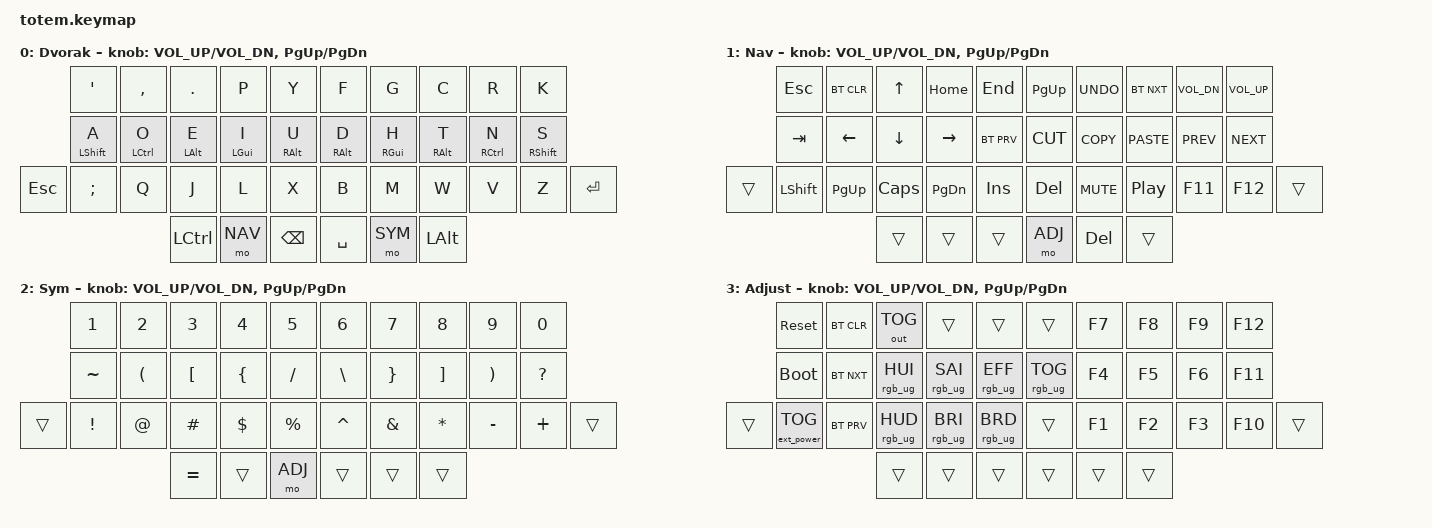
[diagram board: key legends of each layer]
/*
 * Copyright (c) 2025
 *
 * SPDX-License-Identifier: MIT
 */

#include <behaviors.dtsi>
#include <dt-bindings/zmk/keys.h>
#include <dt-bindings/zmk/bt.h>
#include <dt-bindings/zmk/outputs.h>
#include <dt-bindings/zmk/rgb.h>
#include <dt-bindings/zmk/ext_power.h>

#define BASE 0
#define NAV  1
#define SYM  2
#define ADJ  3

&mt {
  quick-tap-ms = <100>;
  global-quick-tap;
  flavor = "tap-preferred";
  tapping-term-ms = <250>;
};

/ {
    // Combos
    combos {
        compatible = "zmk,combos";
        combo_esc {
            timeout-ms = <50>;
            key-positions = <1 2>;
            bindings = <&kp ESC>;
        };
        combo_enter {
            timeout-ms = <50>;
            key-positions = <25 26>; // Positions for BSPC and SPACE
            bindings = <&kp ENTER>;
        };    
    };

    // Activate ADJ layer by pressing NAV and SYM
    conditional_layers {
        compatible = "zmk,conditional-layers";
        adjust_layer {
            if-layers = <NAV SYM>;
            then-layer = <ADJ>;
        };
    };

    // Macros
    macros {
        gif: gif {
            label = "giphy";
            compatible = "zmk,behavior-macro";
            #binding-cells = <0>;
            bindings
                = <&macro_press &kp LSHFT>
                , <&macro_tap &kp N2>
                , <&macro_release &kp LSHFT>
                , <&macro_tap &kp G &kp I &kp F>
                ;
        };
    };

    keymap {
        compatible = "zmk,keymap";

        // Base Dvorak Layer
        default_layer {
            display-name = "Dvorak";
        /*
            ┏━━━━━━━┳━━━━━━━┳━━━━━━━┳━━━━━━━┳━━━━━━━┓             ┏━━━━━━━┳━━━━━━━┳━━━━━━━┳━━━━━━━┳━━━━━━━┓
            ┃  ' "  ┃  , <  ┃  . >  ┃   P   ┃   Y   ┃             ┃   F   ┃   G   ┃   C   ┃   R   ┃   K   ┃
            ┣━━━━━━━╋━━━━━━━╋━━━━━━━╋━━━━━━━╋━━━━━━━┫             ┣━━━━━━━╋━━━━━━━╋━━━━━━━╋━━━━━━━╋━━━━━━━┫
            ┃A/SHIFT┃O/CTRL ┃E/ALT  ┃I/GUI  ┃U/RALT ┃             ┃D/RALT ┃H/GUI  ┃T/ALT  ┃N/CTRL ┃S/SHIFT┃
   ┏━━━━━━━╋━━━━━━━╋━━━━━━━╋━━━━━━━╋━━━━━━━╋━━━━━━━┫             ┣━━━━━━━╋━━━━━━━╋━━━━━━━╋━━━━━━━╋━━━━━━━╋━━━━━━━┓
   ┃  ESC  ┃   ;:  ┃   Q   ┃   J   ┃   L   ┃   X   ┃             ┃   B   ┃   M   ┃   W   ┃   V   ┃   Z   ┃ ENTER ┃
   ┗━━━━━━━┻━━━━━━━┻━━━━━━━┻━━━━━┳━┻━━━━━┳━┻━━━━━┳━┻━━━━━┓ ┏━━━━━┻━┳━━━━━┻━┳━━━━━┻━┳━━━━━┻━━━━━━━┻━━━━━━━┻━━━━━━━┛
                                 ┃  CTRL ┃  NAV  ┃ BSPC  ┃ ┃ SPACE ┃  SYM  ┃  ALT  ┃
                                 ┗━━━━━━━┻━━━━━━━┻━━━━━━━┛ ┗━━━━━━━┻━━━━━━━┻━━━━━━━┛
        */
            bindings = <
//                  ╷         ╷           ╷          ╷          ╷          ╷   ╷          ╷          ╷          ╷           ╷           ╷
                   &kp SQT    &kp COMMA   &kp DOT    &kp P      &kp Y          &kp F      &kp G      &kp C      &kp R       &kp K
                   &mt LSHFT A &mt LCTRL O &mt LALT E &mt LGUI I &mt RALT U    &mt RALT D &mt RGUI H &mt RALT T &mt RCTRL N &mt RSHFT S
    &kp ESC        &kp SEMI   &kp Q       &kp J      &kp L      &kp X          &kp B      &kp M      &kp W      &kp V       &kp Z       &kp ENTER
                                           &kp LCTRL  &mo NAV    &kp BSPC       &kp SPACE  &mo SYM    &kp LALT
            >;

            sensor-bindings = <&inc_dec_kp C_VOL_UP C_VOL_DN &inc_dec_kp PG_UP PG_DN>;
        };

        // Navigation Layer
        nav_layer {
            display-name = "Nav";
        /*
            ┏━━━━━━━┳━━━━━━━┳━━━━━━━┳━━━━━━━┳━━━━━━━┓             ┏━━━━━━━┳━━━━━━━┳━━━━━━━┳━━━━━━━┳━━━━━━━┓
            ┃  ESC  ┃ BTCLR ┃   UP  ┃ HOME  ┃  END  ┃             ┃ PGUP  ┃ UNDO  ┃ BTNXT ┃ VOL-  ┃ VOL+  ┃
            ┣━━━━━━━╋━━━━━━━╋━━━━━━━╋━━━━━━━╋━━━━━━━┫             ┣━━━━━━━╋━━━━━━━╋━━━━━━━╋━━━━━━━╋━━━━━━━┫
            ┃  TAB  ┃ LEFT  ┃ DOWN  ┃ RIGHT ┃ BTPRV ┃             ┃ CUT   ┃ COPY  ┃ PASTE ┃ PREV  ┃ NEXT  ┃
   ┏━━━━━━━╋━━━━━━━╋━━━━━━━╋━━━━━━━╋━━━━━━━╋━━━━━━━┫             ┣━━━━━━━╋━━━━━━━╋━━━━━━━╋━━━━━━━╋━━━━━━━╋━━━━━━━┓
   ┃       ┃ SHIFT ┃ PGUP  ┃ CAPS  ┃ PGDN  ┃  INS  ┃             ┃  DEL  ┃ MUTE  ┃ PLAY  ┃  F11  ┃  F12  ┃       ┃
   ┗━━━━━━━┻━━━━━━━┻━━━━━━━┻━━━━━┳━┻━━━━━┳━┻━━━━━┳━┻━━━━━┓ ┏━━━━━┻━┳━━━━━┻━┳━━━━━┻━┳━━━━━┻━━━━━━━┻━━━━━━━┻━━━━━━━┛
                                 ┃       ┃       ┃       ┃ ┃  ADJ  ┃  DEL  ┃       ┃
                                 ┗━━━━━━━┻━━━━━━━┻━━━━━━━┛ ┗━━━━━━━┻━━━━━━━┻━━━━━━━┛
        */
            bindings = <
//                  ╷         ╷           ╷          ╷          ╷          ╷   ╷          ╷          ╷          ╷           ╷           ╷
                   &kp ESC    &bt BT_CLR  &kp UP     &kp HOME   &kp END        &kp PG_UP   &kp K_UNDO &bt BT_NXT &kp C_VOL_DN &kp C_VOL_UP
                   &kp TAB    &kp LEFT    &kp DOWN   &kp RIGHT  &bt BT_PRV     &kp K_CUT   &kp K_COPY &kp K_PASTE &kp C_PREV &kp C_NEXT
    &trans         &kp LSHFT  &kp PG_UP   &kp CAPS   &kp PG_DN  &kp INS        &kp DEL     &kp C_MUTE &kp C_PP   &kp F11     &kp F12     &trans
                                          &trans     &trans     &trans          &mo ADJ     &kp DEL    &trans
            >;

            sensor-bindings = <&inc_dec_kp C_VOL_UP C_VOL_DN &inc_dec_kp PG_UP PG_DN>;
        };

        // Symbol Layer
        sym_layer {
            display-name = "Sym";
        /*
            ┏━━━━━━━┳━━━━━━━┳━━━━━━━┳━━━━━━━┳━━━━━━━┓             ┏━━━━━━━┳━━━━━━━┳━━━━━━━┳━━━━━━━┳━━━━━━━┓
            ┃   1   ┃   2   ┃   3   ┃   4   ┃   5   ┃             ┃   6   ┃   7   ┃   8   ┃   9   ┃   0   ┃
            ┣━━━━━━━╋━━━━━━━╋━━━━━━━╋━━━━━━━╋━━━━━━━┫             ┣━━━━━━━╋━━━━━━━╋━━━━━━━╋━━━━━━━╋━━━━━━━┫
            ┃   ~   ┃   (   ┃   [   ┃   {   ┃   /   ┃             ┃   \   ┃   }   ┃   ]   ┃   )   ┃   ?   ┃
   ┏━━━━━━━╋━━━━━━━╋━━━━━━━╋━━━━━━━╋━━━━━━━╋━━━━━━━┫             ┣━━━━━━━╋━━━━━━━╋━━━━━━━╋━━━━━━━╋━━━━━━━╋━━━━━━━┓
   ┃       ┃   !   ┃   @   ┃   #   ┃   $   ┃   %   ┃             ┃   ^   ┃   &   ┃   *   ┃   -   ┃   +   ┃       ┃
   ┗━━━━━━━┻━━━━━━━┻━━━━━━━┻━━━━━┳━┻━━━━━┳━┻━━━━━┳━┻━━━━━┓ ┏━━━━━┻━┳━━━━━┻━┳━━━━━┻━┳━━━━━┻━━━━━━━┻━━━━━━━┻━━━━━━━┛
                                 ┃   =   ┃       ┃  ADJ  ┃ ┃       ┃       ┃       ┃
                                 ┗━━━━━━━┻━━━━━━━┻━━━━━━━┛ ┗━━━━━━━┻━━━━━━━┻━━━━━━━┛
        */
            bindings = <
//                  ╷         ╷           ╷          ╷          ╷          ╷   ╷          ╷          ╷          ╷           ╷           ╷
                   &kp N1     &kp N2      &kp N3     &kp N4     &kp N5         &kp N6     &kp N7     &kp N8     &kp N9      &kp N0
                   &kp TILDE  &kp LPAR   &kp LBKT    &kp LBRC   &kp FSLH      &kp BSLH   &kp RBRC   &kp RBKT   &kp RPAR     &kp QMARK
    &trans         &kp EXCL   &kp AT      &kp HASH   &kp DLLR   &kp PRCNT      &kp CARET  &kp AMPS   &kp STAR   &kp MINUS   &kp PLUS    &trans
                                          &kp EQUAL  &trans     &mo ADJ        &trans     &trans     &trans
            >;

            sensor-bindings = <&inc_dec_kp C_VOL_UP C_VOL_DN &inc_dec_kp PG_UP PG_DN>;
        };

        // Adjust Layer
        adjust_layer {
            display-name = "Adjust";
        /*
            ┏━━━━━━━┳━━━━━━━┳━━━━━━━┳━━━━━━━┳━━━━━━━┓             ┏━━━━━━━┳━━━━━━━┳━━━━━━━┳━━━━━━━┳━━━━━━━┓
            ┃ RESET ┃ BTCLR ┃OUTTOG ┃       ┃       ┃             ┃       ┃  F7   ┃  F8   ┃  F9   ┃  F12  ┃
            ┣━━━━━━━╋━━━━━━━╋━━━━━━━╋━━━━━━━╋━━━━━━━┫             ┣━━━━━━━╋━━━━━━━╋━━━━━━━╋━━━━━━━╋━━━━━━━┫
            ┃BOOTLDR┃ BTNXT ┃RGBHUI ┃RGBSAI ┃RGBEFF ┃             ┃RGBTOG ┃  F4   ┃  F5   ┃  F6   ┃  F11  ┃
   ┏━━━━━━━╋━━━━━━━╋━━━━━━━╋━━━━━━━╋━━━━━━━╋━━━━━━━┫             ┣━━━━━━━╋━━━━━━━╋━━━━━━━╋━━━━━━━╋━━━━━━━╋━━━━━━━┓
   ┃       ┃EXTPWR ┃ BTPRV ┃RGBHUD ┃RGBBRI ┃RGBBRD ┃             ┃       ┃  F1   ┃  F2   ┃  F3   ┃  F10  ┃       ┃
   ┗━━━━━━━┻━━━━━━━┻━━━━━━━┻━━━━━┳━┻━━━━━┳━┻━━━━━┳━┻━━━━━┓ ┏━━━━━┻━┳━━━━━┻━┳━━━━━┻━┳━━━━━┻━━━━━━━┻━━━━━━━┻━━━━━━━┛
                                 ┃       ┃       ┃       ┃ ┃       ┃       ┃       ┃
                                 ┗━━━━━━━┻━━━━━━━┻━━━━━━━┛ ┗━━━━━━━┻━━━━━━━┻━━━━━━━┛
        */
            bindings = <
//                  ╷         ╷           ╷          ╷          ╷          ╷   ╷          ╷          ╷          ╷           ╷           ╷
                   &sys_reset &bt BT_CLR  &out OUT_TOG &trans   &trans         &trans     &kp F7     &kp F8     &kp F9      &kp F12
                   &bootloader &bt BT_NXT &rgb_ug RGB_HUI &rgb_ug RGB_SAI &rgb_ug RGB_EFF &rgb_ug RGB_TOG &kp F4 &kp F5   &kp F6      &kp F11
    &trans         &ext_power EP_TOG &bt BT_PRV &rgb_ug RGB_HUD &rgb_ug RGB_BRI &rgb_ug RGB_BRD &trans &kp F1   &kp F2     &kp F3      &kp F10     &trans
                                          &trans     &trans     &trans          &trans     &trans     &trans
            >;

            sensor-bindings = <&inc_dec_kp C_VOL_UP C_VOL_DN &inc_dec_kp PG_UP PG_DN>;
        };
    };
};
